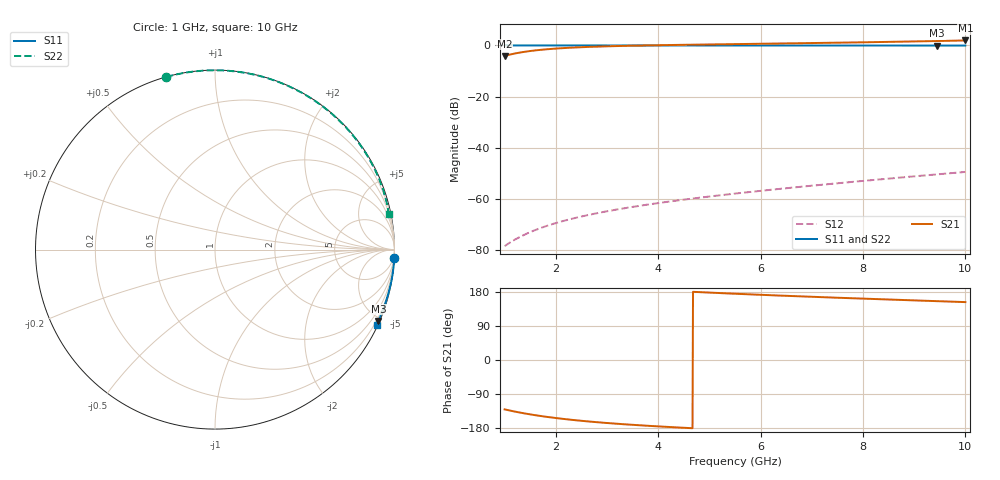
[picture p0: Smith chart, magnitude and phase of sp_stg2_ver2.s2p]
! Touchstone Ver. 1.0
! Number of ports is 2
# Hz	S	RI	R	100.000000	50.000000
! SCATTERING PARAMETERS  :
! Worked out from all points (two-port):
!   901 points, 1 GHz to 10 GHz, reference 100 ohm
!   highest |S21| = 1.94 dB at 10 GHz (marker M1); lowest = -4.1 dB at 1 GHz (marker M2)
!   |S21| within 3 dB of the highest: 2.133 GHz to end of sweep
!   lowest |S11| = -0.1 dB at 9.45 GHz (marker M3), VSWR 307.42, Z = 7.78 - j479 ohm
!   |S11| at or under -10 dB: nowhere
!   |S22| runs from -0.1 to 0.0 dB; largest |S21 - S12| = 1.2
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1e9  0.9989 -0.0446  -0.4034 -0.4751  -9.85e-05 6.7e-05  -0.2731 0.9613
1.04e9  0.9988 -0.0463  -0.4238 -0.4782  -0.000104 7.32e-05  -0.2363 0.971
1.16e9  0.9985 -0.0517  -0.4826 -0.4821  -0.00012 9.31e-05  -0.1305 0.9907
1.32e9  0.9981 -0.0588  -0.5543 -0.4774  -0.000139 0.000122  -0.00131 0.9991
1.51e9  0.9975 -0.0673  -0.629 -0.4612  -0.000162 0.000159  0.1333 0.99
1.71e9  0.9968 -0.0761  -0.696 -0.4361  -0.000183 0.0002  0.2539 0.966
1.89e9  0.996 -0.0841  -0.7471 -0.4093  -0.000201 0.000238  0.3459 0.9369
2.08e9  0.9952 -0.0925  -0.7929 -0.3788  -0.000219 0.000279  0.4283 0.902
2.28e9  0.9942 -0.1014  -0.8334 -0.3455  -0.000238 0.000324  0.5014 0.8634
2.5e9  0.993 -0.1111  -0.8706 -0.3087  -0.000257 0.000373  0.5683 0.8207
2.81e9  0.9912 -0.1247  -0.9126 -0.258  -0.000284 0.000444  0.6438 0.7627
3.16e9  0.9889 -0.14  -0.9491 -0.2033  -0.000315 0.000526  0.7091 0.7021
3.55e9  0.986 -0.157  -0.9798 -0.146  -0.00035 0.000619  0.764 0.6414
4e9  0.9823 -0.1765  -1.006 -0.0843  -0.000392 0.000731  0.8111 0.5802
4.32e9  0.9794 -0.1902  -1.021 -0.0431  -0.000423 0.000813  0.837 0.5417
4.68e9  0.9759 -0.2056  -1.034 0.00119  -0.00046 0.000909  0.8605 0.5027
5.5e9  0.9671 -0.2402  -1.057 0.0954  -0.000552 0.00114  0.899 0.4282
6.21e9  0.9585 -0.2696  -1.071 0.1719  -0.000641 0.00137  0.9212 0.3759
7e9  0.948 -0.3018  -1.082 0.254  -0.000748 0.00165  0.9383 0.3274
8.5e9  0.9258 -0.3612  -1.098 0.4086  -0.000976 0.00229  0.958 0.2544
9.45e9  0.9105 -0.3977  -1.107 0.5103  -0.00113 0.0028  0.965 0.2167
1e10  0.9012 -0.4185  -1.112 0.5722  -0.00122 0.00314  0.9677 0.1968
